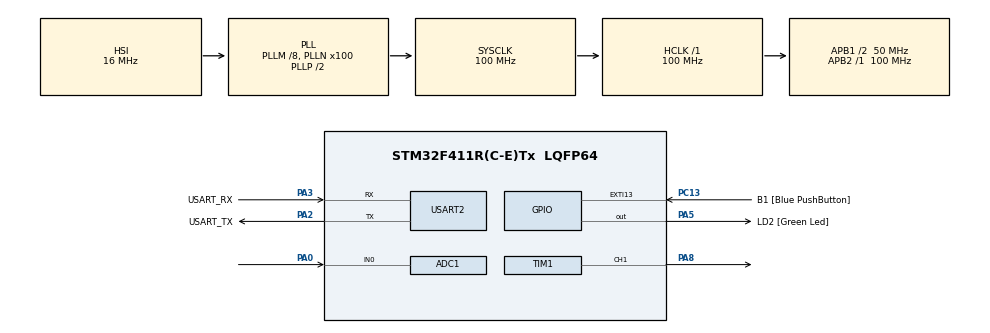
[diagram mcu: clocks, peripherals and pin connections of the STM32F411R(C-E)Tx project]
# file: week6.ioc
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ADC1.Channel-0\#ChannelRegularConversion=ADC_CHANNEL_0
ADC1.ExternalTrigConv=ADC_EXTERNALTRIGCONV_T3_TRGO
ADC1.NbrOfConversionFlag=1
ADC1.Rank-0\#ChannelRegularConversion=1
ADC1.SamplingTime-0\#ChannelRegularConversion=ADC_SAMPLETIME_56CYCLES
ADC1.master=1
Mcu.Family=STM32F4
Mcu.Name=STM32F411R(C-E)Tx
Mcu.Package=LQFP64
NVIC.ADC_IRQn=true\:0\:0\:false\:false\:true\:true\:true
NVIC.PriorityGroup=NVIC_PRIORITYGROUP_0
PA0-WKUP.Signal=ADCx_IN0
PA13.GPIO_Label=TMS
PA13.Mode=Serial_Wire
PA13.Signal=SYS_JTMS-SWDIO
PA14.GPIO_Label=TCK
PA14.Mode=Serial_Wire
PA14.Signal=SYS_JTCK-SWCLK
PA2.GPIO_Label=USART_TX
PA2.Mode=Asynchronous
PA2.Signal=USART2_TX
PA3.GPIO_Label=USART_RX
PA3.Mode=Asynchronous
PA3.Signal=USART2_RX
PA5.GPIO_Label=LD2 [Green Led]
PA5.Signal=GPIO_Output
PA8.Signal=S_TIM1_CH1
PB3.GPIO_Label=SWO
PB3.Signal=SYS_JTDO-SWO
PC13-ANTI_TAMP.GPIO_Label=B1 [Blue PushButton]
PC13-ANTI_TAMP.GPIO_ModeDefaultEXTI=GPIO_MODE_IT_FALLING
PC13-ANTI_TAMP.Signal=GPXTI13
PC14-OSC32_IN.Mode=LSE-External-Oscillator
PC14-OSC32_IN.Signal=RCC_OSC32_IN
PC15-OSC32_OUT.Mode=LSE-External-Oscillator
PC15-OSC32_OUT.Signal=RCC_OSC32_OUT
PH0\ -\ OSC_IN.Mode=HSE-External-Clock-Source
PH0\ -\ OSC_IN.Signal=RCC_OSC_IN
PH1\ -\ OSC_OUT.Mode=HSE-External-Clock-Source
PH1\ -\ OSC_OUT.Signal=RCC_OSC_OUT
ProjectManager.HeapSize=0x200
ProjectManager.StackSize=0x400
ProjectManager.TargetToolchain=STM32CubeIDE
RCC.48MHZClocksFreq_Value=50000000
RCC.AHBFreq_Value=100000000
RCC.APB1CLKDivider=RCC_HCLK_DIV2
RCC.APB1Freq_Value=50000000
RCC.APB1TimFreq_Value=100000000
RCC.APB2Freq_Value=100000000
RCC.APB2TimFreq_Value=100000000
RCC.CortexFreq_Value=100000000
RCC.FLatency-AdvancedSettings=FLASH_LATENCY_3
RCC.HCLKFreq_Value=100000000
RCC.HSE_VALUE=8000000
RCC.HSI_VALUE=16000000
RCC.PLLM=8
RCC.PLLN=100
RCC.SYSCLKFreq_VALUE=100000000
RCC.SYSCLKSource=RCC_SYSCLKSOURCE_PLLCLK
RCC.VCOOutputFreq_Value=200000000
SH.ADCx_IN0.0=ADC1_IN0,IN0
SH.S_TIM1_CH1.0=TIM1_CH1,PWM Generation1 CH1
TIM1.Channel-PWM\ Generation1\ CH1=TIM_CHANNEL_1
TIM1.OC1Preload_PWM=ENABLE
TIM1.Period=10000
TIM1.Pulse-PWM\ Generation1\ CH1=5000
TIM3.Period=1000
TIM3.Prescaler=99
TIM3.TIM_MasterOutputTrigger=TIM_TRGO_UPDATE
USART2.VirtualMode=VM_ASYNC
VP_TIM11_VS_ClockSourceINT.Mode=Enable_Timer
VP_TIM1_VS_ClockSourceINT.Mode=Internal
VP_TIM3_VS_ClockSourceINT.Mode=Internal
board=NUCLEO-F411RE

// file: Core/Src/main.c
/* USER CODE BEGIN Header */
/**
 ******************************************************************************
 * @file           : main.c
 * @brief          : Main program body
 ******************************************************************************
 * @attention
 *
 * <h2><center>&copy; Copyright (c) 2021 STMicroelectronics.
 * All rights reserved.</center></h2>
 *
 * This software component is licensed by ST under BSD 3-Clause license,
 * the "License"; You may not use this file except in compliance with the
 * License. You may obtain a copy of the License at:
 *                        opensource.org/licenses/BSD-3-Clause
 *
 ******************************************************************************
 */
/* USER CODE END Header */
#include "main.h"

ADC_HandleTypeDef hadc1;

TIM_HandleTypeDef htim1;
TIM_HandleTypeDef htim3;
TIM_HandleTypeDef htim11;

UART_HandleTypeDef huart2;

/* USER CODE BEGIN PV */

uint8_t ADCUpdateFlag = 0;
uint16_t ADCFeedBack = 0;
uint16_t PWMOut = 3000;

float V = 0;
float Eror = 0;
float PreEror = 0;
float SumEror = 0;
float Kp = 1;
float Kd = 0.1;
float Ki = 0.1;

uint64_t _micro = 0;
uint64_t TimeOutputLoop = 0;
/* USER CODE END PV */

void SystemClock_Config(void);
static void MX_GPIO_Init(void);
static void MX_USART2_UART_Init(void);
static void MX_ADC1_Init(void);
static void MX_TIM1_Init(void);
static void MX_TIM3_Init(void);
static void MX_TIM11_Init(void);
/* USER CODE BEGIN PFP */
uint64_t micros();
/* USER CODE END PFP */

int main(void) {

	/* MCU Configuration--------------------------------------------------------*/

	/* Reset of all peripherals, Initializes the Flash interface and the Systick. */
	HAL_Init();

	/* Configure the system clock */
	SystemClock_Config();

	/* Initialize all configured peripherals */
	MX_GPIO_Init();
	MX_USART2_UART_Init();
	MX_ADC1_Init();
	MX_TIM1_Init();
	MX_TIM3_Init();
	MX_TIM11_Init();
	/* USER CODE BEGIN 2 */
	HAL_ADC_Start_IT(&hadc1);
	HAL_TIM_Base_Start(&htim3);

	HAL_TIM_Base_Start(&htim1);
	HAL_TIM_PWM_Start(&htim1, TIM_CHANNEL_1);

	HAL_TIM_Base_Start_IT(&htim11);

	/* USER CODE END 2 */

	/* Infinite loop */
	while (1) {

		/* USER CODE BEGIN 3 */

		//1 Khz Loop
		if (micros() - TimeOutputLoop > 1000) {
			TimeOutputLoop = micros();
			// #001
			__HAL_TIM_SET_COMPARE(&htim1, TIM_CHANNEL_1, PWMOut);
		}

		//if (ADCFeedBack != (4096.0 * 10000.0) / (3.3 * PWMOut)) {
			//Eror = ADCFeedBack - ((4096.0 * 10000.0) / (3.3 * PWMOut));
			//PreEror = ADCFeedBack - ((4096.0 * 10000.0) / (3.3 * PWMOut));
			//SumEror += ADCFeedBack - ((4096.0 * 10000.0) / (3.3 * PWMOut));
			//PWMOut += ((Kp * (ADCFeedBack - ((4096.0 * 10000.0) / (3.3 * PWMOut))))
			//		+ (Kd * (Eror - PreEror)) + (Ki * SumEror));
			//V = (ADCFeedBack * (PWMOut / 10000.0) * 3.3) / 4096.0;
		//}
		if (ADCFeedBack > (4096.0 * 10000.0) / (3.3 * PWMOut)){
			PWMOut -= 1;
		}
		if (ADCFeedBack < (4096.0 * 10000.0) / (3.3 * PWMOut)){
					PWMOut += 1;
				}
		V = (ADCFeedBack * (PWMOut / 10000.0) * 3.3) / 4096.0;
		if (ADCUpdateFlag) {
			ADCUpdateFlag = 0;
			//#002
		}

		PreEror = Eror;
	}
	/* USER CODE END 3 */
}

void SystemClock_Config(void) {
	RCC_OscInitTypeDef RCC_OscInitStruct = { 0 };
	RCC_ClkInitTypeDef RCC_ClkInitStruct = { 0 };

	/** Configure the main internal regulator output voltage
	 */
	__HAL_RCC_PWR_CLK_ENABLE();
	__HAL_PWR_VOLTAGESCALING_CONFIG(PWR_REGULATOR_VOLTAGE_SCALE1);
	/** Initializes the RCC Oscillators according to the specified parameters
	 * in the RCC_OscInitTypeDef structure.
	 */
	RCC_OscInitStruct.OscillatorType = RCC_OSCILLATORTYPE_HSI;
	RCC_OscInitStruct.HSIState = RCC_HSI_ON;
	RCC_OscInitStruct.HSICalibrationValue = RCC_HSICALIBRATION_DEFAULT;
	RCC_OscInitStruct.PLL.PLLState = RCC_PLL_ON;
	RCC_OscInitStruct.PLL.PLLSource = RCC_PLLSOURCE_HSI;
	RCC_OscInitStruct.PLL.PLLM = 8;
	RCC_OscInitStruct.PLL.PLLN = 100;
	RCC_OscInitStruct.PLL.PLLP = RCC_PLLP_DIV2;
	RCC_OscInitStruct.PLL.PLLQ = 4;
	if (HAL_RCC_OscConfig(&RCC_OscInitStruct) != HAL_OK) {
		Error_Handler();
	}
	/** Initializes the CPU, AHB and APB buses clocks
	 */
	RCC_ClkInitStruct.ClockType = RCC_CLOCKTYPE_HCLK | RCC_CLOCKTYPE_SYSCLK
			| RCC_CLOCKTYPE_PCLK1 | RCC_CLOCKTYPE_PCLK2;
	RCC_ClkInitStruct.SYSCLKSource = RCC_SYSCLKSOURCE_PLLCLK;
	RCC_ClkInitStruct.AHBCLKDivider = RCC_SYSCLK_DIV1;
	RCC_ClkInitStruct.APB1CLKDivider = RCC_HCLK_DIV2;
	RCC_ClkInitStruct.APB2CLKDivider = RCC_HCLK_DIV1;

	if (HAL_RCC_ClockConfig(&RCC_ClkInitStruct, FLASH_LATENCY_3) != HAL_OK) {
		Error_Handler();
	}
}

static void MX_ADC1_Init(void) {

	ADC_ChannelConfTypeDef sConfig = { 0 };

	/** Configure the global features of the ADC (Clock, Resolution, Data Alignment and number of conversion)
	 */
	hadc1.Instance = ADC1;
	hadc1.Init.ClockPrescaler = ADC_CLOCK_SYNC_PCLK_DIV4;
	hadc1.Init.Resolution = ADC_RESOLUTION_12B;
	hadc1.Init.ScanConvMode = DISABLE;
	hadc1.Init.ContinuousConvMode = DISABLE;
	hadc1.Init.DiscontinuousConvMode = DISABLE;
	hadc1.Init.ExternalTrigConvEdge = ADC_EXTERNALTRIGCONVEDGE_RISING;
	hadc1.Init.ExternalTrigConv = ADC_EXTERNALTRIGCONV_T3_TRGO;
	hadc1.Init.DataAlign = ADC_DATAALIGN_RIGHT;
	hadc1.Init.NbrOfConversion = 1;
	hadc1.Init.DMAContinuousRequests = DISABLE;
	hadc1.Init.EOCSelection = ADC_EOC_SINGLE_CONV;
	if (HAL_ADC_Init(&hadc1) != HAL_OK) {
		Error_Handler();
	}
	/** Configure for the selected ADC regular channel its corresponding rank in the sequencer and its sample time.
	 */
	sConfig.Channel = ADC_CHANNEL_0;
	sConfig.Rank = 1;
	sConfig.SamplingTime = ADC_SAMPLETIME_56CYCLES;
	if (HAL_ADC_ConfigChannel(&hadc1, &sConfig) != HAL_OK) {
		Error_Handler();
	}

}

static void MX_TIM1_Init(void) {

	TIM_ClockConfigTypeDef sClockSourceConfig = { 0 };
	TIM_MasterConfigTypeDef sMasterConfig = { 0 };
	TIM_OC_InitTypeDef sConfigOC = { 0 };
	TIM_BreakDeadTimeConfigTypeDef sBreakDeadTimeConfig = { 0 };

	htim1.Instance = TIM1;
	htim1.Init.Prescaler = 0;
	htim1.Init.CounterMode = TIM_COUNTERMODE_UP;
	htim1.Init.Period = 10000;
	htim1.Init.ClockDivision = TIM_CLOCKDIVISION_DIV1;
	htim1.Init.RepetitionCounter = 0;
	htim1.Init.AutoReloadPreload = TIM_AUTORELOAD_PRELOAD_DISABLE;
	if (HAL_TIM_Base_Init(&htim1) != HAL_OK) {
		Error_Handler();
	}
	sClockSourceConfig.ClockSource = TIM_CLOCKSOURCE_INTERNAL;
	if (HAL_TIM_ConfigClockSource(&htim1, &sClockSourceConfig) != HAL_OK) {
		Error_Handler();
	}
	if (HAL_TIM_PWM_Init(&htim1) != HAL_OK) {
		Error_Handler();
	}
	sMasterConfig.MasterOutputTrigger = TIM_TRGO_RESET;
	sMasterConfig.MasterSlaveMode = TIM_MASTERSLAVEMODE_DISABLE;
	if (HAL_TIMEx_MasterConfigSynchronization(&htim1, &sMasterConfig)
			!= HAL_OK) {
		Error_Handler();
	}
	sConfigOC.OCMode = TIM_OCMODE_PWM1;
	sConfigOC.Pulse = 5000;
	sConfigOC.OCPolarity = TIM_OCPOLARITY_HIGH;
	sConfigOC.OCNPolarity = TIM_OCNPOLARITY_HIGH;
	sConfigOC.OCFastMode = TIM_OCFAST_DISABLE;
	sConfigOC.OCIdleState = TIM_OCIDLESTATE_RESET;
	sConfigOC.OCNIdleState = TIM_OCNIDLESTATE_RESET;
	if (HAL_TIM_PWM_ConfigChannel(&htim1, &sConfigOC, TIM_CHANNEL_1)
			!= HAL_OK) {
		Error_Handler();
	}
	sBreakDeadTimeConfig.OffStateRunMode = TIM_OSSR_DISABLE;
	sBreakDeadTimeConfig.OffStateIDLEMode = TIM_OSSI_DISABLE;
	sBreakDeadTimeConfig.LockLevel = TIM_LOCKLEVEL_OFF;
	sBreakDeadTimeConfig.DeadTime = 0;
	sBreakDeadTimeConfig.BreakState = TIM_BREAK_DISABLE;
	sBreakDeadTimeConfig.BreakPolarity = TIM_BREAKPOLARITY_HIGH;
	sBreakDeadTimeConfig.AutomaticOutput = TIM_AUTOMATICOUTPUT_DISABLE;
	if (HAL_TIMEx_ConfigBreakDeadTime(&htim1, &sBreakDeadTimeConfig)
			!= HAL_OK) {
		Error_Handler();
	}
	HAL_TIM_MspPostInit(&htim1);

}

static void MX_TIM3_Init(void) {

	TIM_ClockConfigTypeDef sClockSourceConfig = { 0 };
	TIM_MasterConfigTypeDef sMasterConfig = { 0 };

	htim3.Instance = TIM3;
	htim3.Init.Prescaler = 99;
	htim3.Init.CounterMode = TIM_COUNTERMODE_UP;
	htim3.Init.Period = 1000;
	htim3.Init.ClockDivision = TIM_CLOCKDIVISION_DIV1;
	htim3.Init.AutoReloadPreload = TIM_AUTORELOAD_PRELOAD_DISABLE;
	if (HAL_TIM_Base_Init(&htim3) != HAL_OK) {
		Error_Handler();
	}
	sClockSourceConfig.ClockSource = TIM_CLOCKSOURCE_INTERNAL;
	if (HAL_TIM_ConfigClockSource(&htim3, &sClockSourceConfig) != HAL_OK) {
		Error_Handler();
	}
	sMasterConfig.MasterOutputTrigger = TIM_TRGO_UPDATE;
	sMasterConfig.MasterSlaveMode = TIM_MASTERSLAVEMODE_DISABLE;
	if (HAL_TIMEx_MasterConfigSynchronization(&htim3, &sMasterConfig)
			!= HAL_OK) {
		Error_Handler();
	}

}

static void MX_TIM11_Init(void) {

	htim11.Instance = TIM11;
	htim11.Init.Prescaler = 0;
	htim11.Init.CounterMode = TIM_COUNTERMODE_UP;
	htim11.Init.Period = 65535;
	htim11.Init.ClockDivision = TIM_CLOCKDIVISION_DIV1;
	htim11.Init.AutoReloadPreload = TIM_AUTORELOAD_PRELOAD_DISABLE;
	if (HAL_TIM_Base_Init(&htim11) != HAL_OK) {
		Error_Handler();
	}

}

static void MX_USART2_UART_Init(void) {

	huart2.Instance = USART2;
	huart2.Init.BaudRate = 115200;
	huart2.Init.WordLength = UART_WORDLENGTH_8B;
	huart2.Init.StopBits = UART_STOPBITS_1;
	huart2.Init.Parity = UART_PARITY_NONE;
	huart2.Init.Mode = UART_MODE_TX_RX;
	huart2.Init.HwFlowCtl = UART_HWCONTROL_NONE;
	huart2.Init.OverSampling = UART_OVERSAMPLING_16;
	if (HAL_UART_Init(&huart2) != HAL_OK) {
		Error_Handler();
	}

}

static void MX_GPIO_Init(void) {
	GPIO_InitTypeDef GPIO_InitStruct = { 0 };

	/* GPIO Ports Clock Enable */
	__HAL_RCC_GPIOC_CLK_ENABLE();
	__HAL_RCC_GPIOH_CLK_ENABLE();
	__HAL_RCC_GPIOA_CLK_ENABLE();
	__HAL_RCC_GPIOB_CLK_ENABLE();

	/*Configure GPIO pin Output Level */
	HAL_GPIO_WritePin(LD2_GPIO_Port, LD2_Pin, GPIO_PIN_RESET);

	/*Configure GPIO pin : B1_Pin */
	GPIO_InitStruct.Pin = B1_Pin;
	GPIO_InitStruct.Mode = GPIO_MODE_IT_FALLING;
	GPIO_InitStruct.Pull = GPIO_NOPULL;
	HAL_GPIO_Init(B1_GPIO_Port, &GPIO_InitStruct);

	/*Configure GPIO pin : LD2_Pin */
	GPIO_InitStruct.Pin = LD2_Pin;
	GPIO_InitStruct.Mode = GPIO_MODE_OUTPUT_PP;
	GPIO_InitStruct.Pull = GPIO_NOPULL;
	GPIO_InitStruct.Speed = GPIO_SPEED_FREQ_LOW;
	HAL_GPIO_Init(LD2_GPIO_Port, &GPIO_InitStruct);

}

/* USER CODE BEGIN 4 */

void HAL_ADC_ConvCpltCallback(ADC_HandleTypeDef *hadc) {
	ADCFeedBack = HAL_ADC_GetValue(&hadc1);
	ADCUpdateFlag = 1;
}
void HAL_TIM_PeriodElapsedCallback(TIM_HandleTypeDef *htim) {
	if (htim == &htim11) {
		_micro += 65535;
	}
}

__inline__ uint64_t micros() {
	return _micro + htim11.Instance->CNT;
}
/* USER CODE END 4 */

void Error_Handler(void) {
	__disable_irq();
	while (1) {
	}
}

/************************ (C) COPYRIGHT STMicroelectronics *****END OF FILE****/
